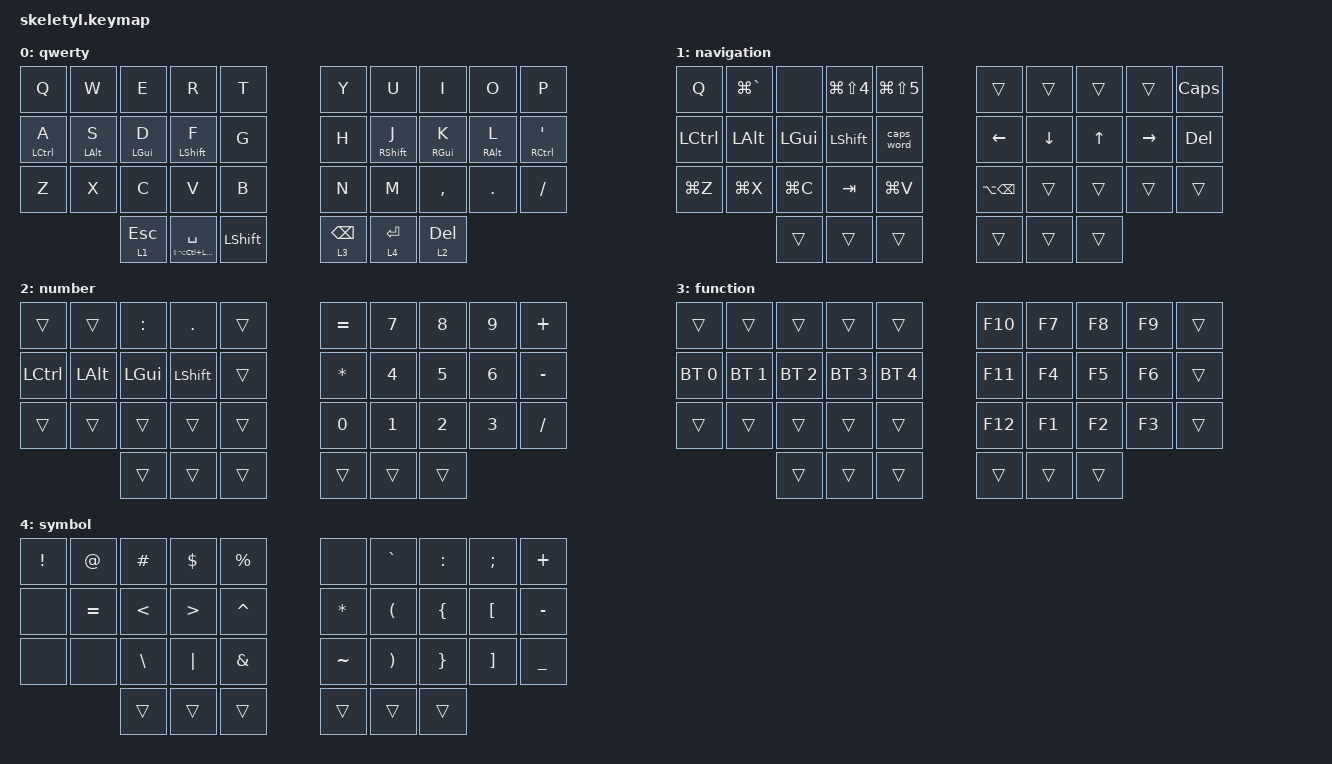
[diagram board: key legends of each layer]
/*
 * Copyright (c) 2023 Charly Delay <0xcharly>
 *
 * SPDX-License-Identifier: MIT
 */

#include <behaviors.dtsi>
#include <dt-bindings/zmk/bt.h>
#include <dt-bindings/zmk/keys.h>

#define QWERTY 0

// #define APTMAK 1
// #define LOWER 2
// #define UPPER 3
// #define EXTEND 4
// #define SHORTS 5
// #define SYSTEM 6
// Custom keycodes.
// #define LAUNCHER (LG(SPACE))
// #define CTL_TAB (LC(TAB))
// #define RCS_TAB (LC(LS(TAB)))
// #define EXTPOW_TOG &ext_power EXT_POWER_TOGGLE_CMD
// #define RGB_UG_TOG &rgb_ug RGB_TOG
// Adjust sticky-keys configuration.
// &sk {
//   release-after-ms = <1500>;
//   quick-release;
// };
// Adjust Caps Word configuration.
// &caps_word {
//   continue-list = <UNDERSCORE MINUS BACKSPACE MINUS>;
// };

/ {
    // Conditional layers configuration, specifically tri-layer.
    // conditional_layers {
    //   compatible = "zmk,conditional-layers";
    //   // Tri-layer LOWER + UPPER = EXTEND.
    //   num_tri_layer {
    //     if-layers = <LOWER UPPER>;
    //     then-layer = <EXTEND>;
    //   };
    // };
    // Macros configuration, specifically character sequences.
    // macros {
    //   // Cancel sticky mods.
    //   cancel: cancel_queued_sticky_mods {
    //     label = "Cancel sticky mods";
    //     compatible = "zmk,behavior-macro";
    //     #binding-cells = <0>;
    //     bindings = <&macro_tap &kp K_CANCEL>, <&macro_pause_for_release>;
    //   };
    //   // Right arrow macro: ->
    //   rarrow: right_arrow {
    //     label = "Right Arrow";
    //     compatible = "zmk,behavior-macro";
    //     #binding-cells = <0>;
    //     bindings = <&macro_tap &kp MINUS &kp GT>;
    //   };
    //   // Fat right arrow macro: =>
    //   frarrow: fat_right_arrow {
    //     label = "Fat Right Arrow";
    //     compatible = "zmk,behavior-macro";
    //     #binding-cells = <0>;
    //     bindings = <&macro_tap &kp EQUAL &kp GT>;
    //   };
    //   // Dead key acute.
    //   dk_acute: dead_key_ecute {
    //     label = "Acute dead key";
    //     compatible = "zmk,behavior-macro";
    //     #binding-cells = <0>;
    //     bindings
    //         = <&macro_press &kp LALT>
    //         , <&macro_tap &kp E>
    //         , <&macro_release &kp LALT>
    //         ;
    //   };
    //   // Dead key grave.
    //   dk_grave: dead_key_grave {
    //     label = "Grave dead key";
    //     compatible = "zmk,behavior-macro";
    //     #binding-cells = <0>;
    //     bindings
    //         = <&macro_press &kp LALT>
    //         , <&macro_tap &kp GRAVE>
    //         , <&macro_release &kp LALT>
    //         ;
    //   };
    //   // Dead key circumflex.
    //   dk_circ: dead_key_circumflex {
    //     label = "Circumflex dead key";
    //     compatible = "zmk,behavior-macro";
    //     #binding-cells = <0>;
    //     bindings
    //         = <&macro_press &kp LALT>
    //         , <&macro_tap &kp I>
    //         , <&macro_release &kp LALT>
    //         ;
    //   };
    //   // Dead key acute.
    //   dk_trema: dead_key_trema {
    //     label = "Trema dead key";
    //     compatible = "zmk,behavior-macro";
    //     #binding-cells = <0>;
    //     bindings
    //         = <&macro_press &kp LALT>
    //         , <&macro_tap &kp U>
    //         , <&macro_release &kp LALT>
    //         ;
    //   };
    // };
    /**
   * Combos configuration: only on base layer.
   *
   * Combo key positions:
   *
   *    0  1  2  3  4    5  6  7  8  9
   *   10 11 12 13 14    15 16 17 18 19
   *   20 21 22 23 24    25 26 27 28 29
   *         30 31 32    33 34 35
   */
    // combos {
    //   compatible = "zmk,combos";
    //   // Failsafe reset on a 2-key combos.
    //   combo_sys_reset_lhs {
    //     timeout-ms = <50>;
    //     key-positions = <30 32>;
    //     bindings = <&sys_reset>;
    //   };
    //   combo_sys_reset_rhs {
    //     timeout-ms = <50>;
    //     key-positions = <33 35>;
    //     bindings = <&sys_reset>;
    //   };
    //   // Cancel sticky mods failsafe.
    //   combo_cancel {
    //     timeout-ms = <50>;
    //     key-positions = <0 9>;
    //     bindings = <&cancel>;
    //     layers = <DVORAK APTMAK>;
    //   };
    //   // Caps Word on a 2-key combo.
    //   combo_caps_word {
    //     timeout-ms = <50>;
    //     key-positions = <2 7>;
    //     bindings = <&caps_word>;
    //     layers = <DVORAK APTMAK>;
    //   };
    // };
    /**
   * Custom shifted keycode for access to convenience symbols from the base layer.
   *
   * Particularly useful for Gmail keyboard shortcuts.
   */
    // behaviors {
    //   // Comma -> Question mark.
    //   comma_hash: comma_question {
    //     compatible = "zmk,behavior-mod-morph";
    //     label = "COMMA_QUESTION";
    //     #binding-cells = <0>;
    //     bindings = <&kp COMMA>, <&kp POUND>;
    //     mods = <(MOD_LSFT|MOD_RSFT)>;
    //   };
    //   // Period -> Exclamation mark.
    //   dot_excl: period_exclamation {
    //     compatible = "zmk,behavior-mod-morph";
    //     label = "PERIOD_EXCLAMATION";
    //     #binding-cells = <0>;
    //     bindings = <&kp PERIOD>, <&kp EXCLAMATION>;
    //     mods = <(MOD_LSFT|MOD_RSFT)>;
    //   };
    // };
    /**
   * 36-key keymap, using a Dvorak or Aptmak base layer.
   */

    behaviors {
        shift_hyper: shift_hyper {
            compatible = "zmk,behavior-tap-dance";
            label = "SHIFT_HYPER";
            #binding-cells = <0>;
            bindings = <&kp LEFT_SHIFT>, <&kp LS(LA(LC(LGUI)))>;
        };

        left_paren: left_paren {
            compatible = "zmk,behavior-mod-morph";
            label = "LEFT_PAREN";
            bindings = <&kp LEFT_PARENTHESIS>, <&kp LESS_THAN>;

            #binding-cells = <0>;
            mods = <(MOD_LSFT)>;
        };

        right_paren: right_paren {
            compatible = "zmk,behavior-mod-morph";
            label = "RIGHT_PAREN";
            bindings = <&kp RIGHT_PARENTHESIS>, <&kp GREATER_THAN>;

            #binding-cells = <0>;
            mods = <(MOD_LSFT)>;
        };

        hml: hml {
            compatible = "zmk,behavior-hold-tap";
            label = "HML";
            bindings = <&kp>, <&kp>;

            #binding-cells = <2>;
            tapping-term-ms = <400>;
            quick-tap-ms = <175>;
            require-prior-idle-ms = <150>;
            flavor = "balanced";
            hold-trigger-on-release;
            hold-trigger-key-positions = <30 31 32 33 34 35 5 6 7 8 9 15 16 17 18 19 25 26 27 28 29>;
        };

        hmr: hmr {
            compatible = "zmk,behavior-hold-tap";
            label = "HMR";
            bindings = <&kp>, <&kp>;

            #binding-cells = <2>;
            tapping-term-ms = <400>;
            quick-tap-ms = <175>;
            require-prior-idle-ms = <150>;
            flavor = "balanced";
            hold-trigger-on-release;
            hold-trigger-key-positions = <33 34 35 0 1 2 3 4 10 11 12 13 14 20 21 22 23 24 30 31 32>;
        };
    };

    combos {
        compatible = "zmk,combos";

        left-bracket {
            bindings = <&kp LEFT_BRACKET>;
            key-positions = <26 27>;
        };

        right-bracket {
            bindings = <&kp RIGHT_BRACKET>;
            key-positions = <27 28>;
        };

        left-paren {
            bindings = <&left_paren>;
            key-positions = <6 7>;
        };

        right-paren {
            bindings = <&right_paren>;
            key-positions = <7 8>;
        };
    };

    keymap {
        compatible = "zmk,keymap";

        /** Traditional Dvorak layout. */

        qwerty {
            bindings = <
&kp Q         &kp W            &kp E            &kp R                       &kp T             &kp Y            &kp U               &kp I             &kp O             &kp P
&hml LCTRL A  &hml LEFT_ALT S  &hml LEFT_GUI D  &hml LEFT_SHIFT F           &kp G             &kp H            &hmr RIGHT_SHIFT J  &hmr RIGHT_GUI K  &hmr RIGHT_ALT L  &hmr RCTRL SQT
&kp Z         &kp X            &kp C            &kp V                       &kp B             &kp N            &kp M               &kp COMMA         &kp PERIOD        &kp SLASH
                               &lt 1 ESC        &mt LS(LA(LC(LGUI))) SPACE  &kp LEFT_SHIFT    &lt 3 BACKSPACE  &lt 4 ENTER         &lt 2 DELETE
            >;
        };

        navigation {
            bindings = <
&kp Q      &kp LG(GRAVE)  &none      &kp LG(LS(NUMBER_4))  &kp LG(LS(N5))    &trans             &trans    &trans  &trans     &kp CAPSLOCK
&kp LCTRL  &kp LEFT_ALT   &kp LGUI   &kp LSHFT             &caps_word        &kp LEFT           &kp DOWN  &kp UP  &kp RIGHT  &kp DELETE
&kp LG(Z)  &kp LG(X)      &kp LG(C)  &kp TAB               &kp LG(V)         &kp LA(BACKSPACE)  &trans    &trans  &trans     &trans
                          &trans     &trans                &trans            &trans             &trans    &trans
            >;
        };

        number {
            bindings = <
&trans     &trans    &kp COLON  &kp PERIOD  &trans    &kp EQUAL     &kp N7  &kp N8  &kp N9  &kp PLUS
&kp LCTRL  &kp LALT  &kp LGUI   &kp LSHFT   &trans    &kp ASTERISK  &kp N4  &kp N5  &kp N6  &kp MINUS
&trans     &trans    &trans     &trans      &trans    &kp N0        &kp N1  &kp N2  &kp N3  &kp SLASH
                     &trans     &trans      &trans    &trans        &trans  &trans
            >;
        };

        function {
            bindings = <
&trans        &trans        &trans        &trans        &trans          &kp F10  &kp F7  &kp F8  &kp F9  &trans
&bt BT_SEL 0  &bt BT_SEL 1  &bt BT_SEL 2  &bt BT_SEL 3  &bt BT_SEL 4    &kp F11  &kp F4  &kp F5  &kp F6  &trans
&trans        &trans        &trans        &trans        &trans          &kp F12  &kp F1  &kp F2  &kp F3  &trans
                            &trans        &trans        &trans          &trans   &trans  &trans
            >;
        };

        symbol {
            bindings = <
&kp EXCLAMATION  &kp AT_SIGN  &kp HASH       &kp DOLLAR        &kp PERCENT      &none         &kp GRAVE              &kp COLON        &kp SEMICOLON      &kp PLUS
&none            &kp EQUAL    &kp LESS_THAN  &kp GREATER_THAN  &kp CARET        &kp ASTERISK  &kp LEFT_PARENTHESIS   &kp LEFT_BRACE   &kp LEFT_BRACKET   &kp MINUS
&none            &none        &kp BACKSLASH  &kp PIPE          &kp AMPERSAND    &kp TILDE     &kp RIGHT_PARENTHESIS  &kp RIGHT_BRACE  &kp RIGHT_BRACKET  &kp UNDERSCORE
                              &trans         &trans            &trans           &trans        &trans                 &trans
            >;
        };

        /**
     * Alternate layout: Aptmak by Eve.
     *
     *   v w f p b  j l u y '
     *   r s t h k  x n a i o
     *     c g d q  z m , .  
     *              e          
     */
        //   aptmak {
        //     bindings = <
        // /* ╭──────────────────────────────────────────────────────────────────╮ ╭──────────────────────────────────────────────────────────────────╮ */
        //      &kp V        &kp W        &kp F        &kp P        &kp B            &kp J        &kp L        &kp U        &kp Y        &kp APOS
        //      &kp R        &kp S        &kp T        &kp H        &kp K            &kp X        &kp N        &kp A        &kp I        &kp O
        //      &none        &kp C        &kp G        &kp D        &kp Q            &kp Z        &kp M        &kp COMMA    &kp DOT      &none
        // /* ╰──────────────────────────────────────────────────────────────────┤ ├──────────────────────────────────────────────────────────────────╯ */
        //                                &mo LOWER    &kp SPACE    &mo SHORTS       &kp RCTRL    &kp E        &mo UPPER
        // /*                           ╰────────────────────────────────────────╯ ╰────────────────────────────────────────╯                           */
        //     >;
        //   };
        /**
     * Lower layer. Left thumb down.
     *
     * Navigation and symbols.
     *
     *   - Primary hand (left):
     *     - Home-row sticky mods.
     *     - Direct access desktop shortcuts.
     *   - Secondary hand (right):
     *     - Inverted T arrow cluster.
     *     - Parenthesis brackets.
     *     - Semi-colon for synergy with parenthesis and alt mod.
     */
        //   lower {
        //     bindings = <
        // /* ╭──────────────────────────────────────────────────────────────────╮ ╭──────────────────────────────────────────────────────────────────╮ */
        //      &kp LA(N1)   &kp LA(N2)   &kp LA(N3)   &kp LA(N4)   &kp LA(N5)       &none        &kp LS(TAB)  &kp UP       &kp BSPC     &kp TAB
        //      &sk LALT     &sk LGUI     &sk LCTRL    &sk LSHIFT   &kp W            &none        &kp LEFT     &kp DOWN     &kp RIGHT    &kp ENTER
        //      &none        &kp RCS_TAB  &kp LG(C)    &kp A        &kp LG(V)        &none        &kp LPAR     &kp SEMI     &kp RPAR     &none
        // /* ╰──────────────────────────────────────────────────────────────────┤ ├──────────────────────────────────────────────────────────────────╯ */
        //                                &trans /*↓*/ &trans       &sl SYSTEM       &trans       &trans       &trans
        // /*                           ╰────────────────────────────────────────╯ ╰────────────────────────────────────────╯                           */
        //     >;
        //   };
        /**
     * Upper layer. Right thumb down.
     *
     * Symbols.
     *
     *   - Primary hand (right):
     *     - Underscore for symmetry with dash on other half.
     *     - Caret and dollar for Vi-motions.
     *     - Square and curly brackets.
     *     - Double quotes for modal editors registry.
     *   - Secondary hand (left):
     *     - Most common operators.
     *     - Hash and exclamation mark for Gmail shortcuts, and with synergy with right-side brackets.
     *     - Modal editors escape+colon roll for command mode.
     */
        //   upper {
        //     bindings = <
        // /* ╭──────────────────────────────────────────────────────────────────╮ ╭──────────────────────────────────────────────────────────────────╮ */
        //      &none        &kp HASH     &kp EXCL     &kp EQUAL    &none            &none        &kp CARET    &kp QMARK    &kp DOLLAR   &none
        //      &kp GRAVE    &kp ESCAPE   &kp MINUS    &kp COLON    &none            &none        &kp LBRC     &kp UNDER    &kp RBRC     &kp AT
        //      &none        &kp PLUS     &kp ASTERISK &kp SLASH    &none            &none        &kp LBKT     &kp DQT      &kp RBKT     &none
        // /* ╰──────────────────────────────────────────────────────────────────┤ ├──────────────────────────────────────────────────────────────────╯ */
        //                                &trans       &trans       &trans           &sl SYSTEM   &trans       &trans /*↓*/
        // /*                           ╰────────────────────────────────────────╯ ╰────────────────────────────────────────╯                           */
        //     >;
        //   };
        /**
     * Extend layer. Classic tri-layer activated from both lower and upper layers.
     *
     * Numbers and symbols.
     *
     *   - Optimized numrow, and balanced operators.
     *   - Tilde and forward-slash synergy for paths. 
     */
        //   extend {
        //     bindings = <
        // /* ╭──────────────────────────────────────────────────────────────────╮ ╭──────────────────────────────────────────────────────────────────╮ */
        //      &kp TILDE    &kp SLASH    &kp MINUS    &kp PERCENT  &none            &none        &kp EQUAL    &kp PLUS     &kp ASTERISK &kp BSLH
        //      &kp N7       &kp N5       &kp N1       &kp N3       &kp COMMA        &kp DOT      &kp N2       &kp N0       &kp N4       &kp N6
        //      &none        &kp LT       &kp AMPS     &kp N9       &rarrow          &frarrow     &kp N8       &kp PIPE     &kp GT       &none
        // /* ╰──────────────────────────────────────────────────────────────────┤ ├──────────────────────────────────────────────────────────────────╯ */
        //                                &trans /*↓*/ &none        &trans           &trans       &none        &trans /*↓*/
        // /*                           ╰────────────────────────────────────────╯ ╰────────────────────────────────────────╯                           */
        //     >;
        //   };
        /**
     * Shortcuts layer. Left thumb down.
     *
     *   - Primary hand (left):
     *     - 
     *   - Secondary hand (right):
     *     - 
     */
        //   shortcuts {
        //     bindings = <
        // /* ╭──────────────────────────────────────────────────────────────────╮ ╭──────────────────────────────────────────────────────────────────╮ */
        //      &kp HASH     &kp O        &kp E        &kp U        &kp EXCL         &none        &kp N7       &kp N8       &kp N9       &kp TAB
        //      &kp H        &kp J        &kp K        &kp L        &kp X            &none        &kp N4       &kp N5       &kp N6       &kp ENTER
        //      &none        &none        &none        &none        &none            &none        &kp N1       &kp N2       &kp N3       &none
        // /* ╰──────────────────────────────────────────────────────────────────┤ ├──────────────────────────────────────────────────────────────────╯ */
        //                                &none        &none        &trans /*↓*/     &trans       &kp N0       &trans
        // /*                           ╰────────────────────────────────────────╯ ╰────────────────────────────────────────╯                           */
        //     >;
        //   };
        /**
    * System layer for hardware controls.
    * 
    * Available as a sticky-layer with a hard-to-mistap thumb cluster tap dance.
    *
    *   - Bluetooth channels.
    *   - Reset/bootloader.
    *   - Base layers.
    *   - Ext power/RGB.
    */
        //   system {
        //     bindings = <
        // /* ╭──────────────────────────────────────────────────────────────────╮ ╭──────────────────────────────────────────────────────────────────╮ */
        //      EXTPOW_TOG   &bt BT_SEL 3 &bt BT_SEL 2 &bt BT_SEL 1 &bt BT_SEL 0     &bt BT_SEL 0 &bt BT_SEL 1 &bt BT_SEL 2 &bt BT_SEL 3 EXTPOW_TOG
        //      RGB_UG_TOG   &to APTMAK   &to DVORAK   &none        &bt BT_CLR       &bt BT_CLR   &none        &to DVORAK   &to APTMAK   RGB_UG_TOG
        //      &none        &bt BT_PRV   &sys_reset   &bt BT_NXT   &bootloader      &bootloader  &bt BT_PRV   &sys_reset   &bt BT_NXT   &none
        // /* ╰──────────────────────────────────────────────────────────────────┤ ├──────────────────────────────────────────────────────────────────╯ */
        //                                &none        &none        &none            &none        &none        &none
        // /*                           ╰────────────────────────────────────────╯ ╰────────────────────────────────────────╯                           */
        //     >;
        //   };
    };
};
